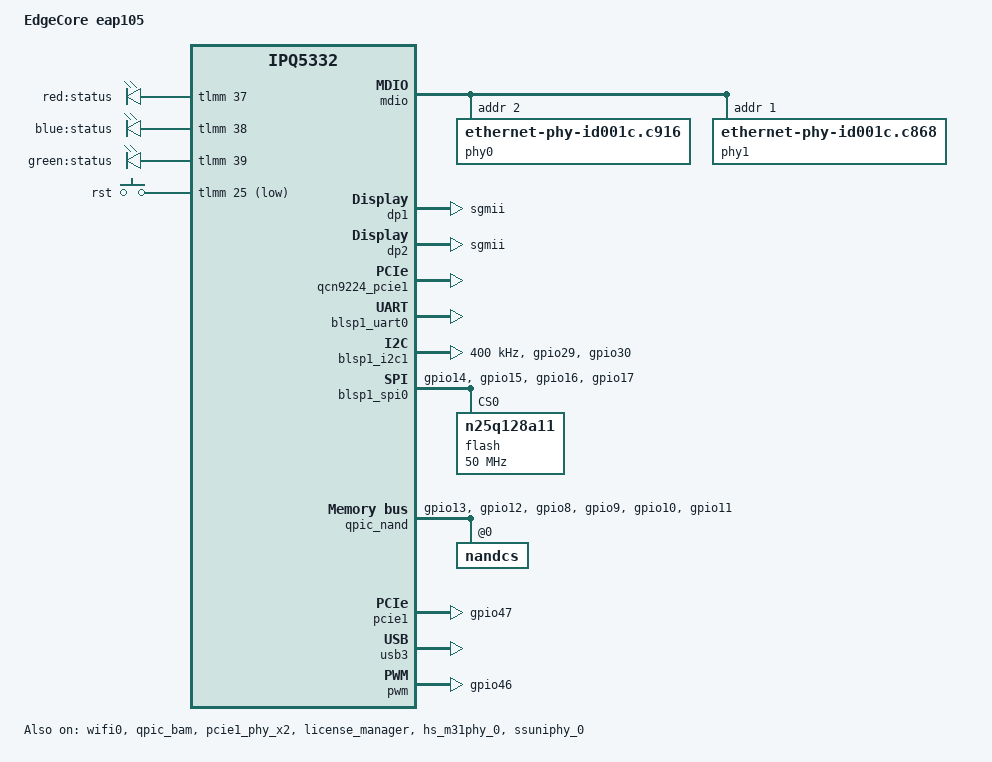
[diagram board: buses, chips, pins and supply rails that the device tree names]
// SPDX-License-Identifier: (GPL-2.0+ OR BSD-3-Clause)
/*
 * IPQ5332 RDP468 board device tree source
 *
 * Copyright (c) 2020-2021 The Linux Foundation. All rights reserved.
 * Copyright (c) 2022-2023 Qualcomm Innovation Center, Inc. All rights reserved.
 */

/dts-v1/;

#include <dt-bindings/gpio/gpio.h>
#include <dt-bindings/input/input.h>
#include <dt-bindings/leds/common.h>
#include "ipq5332.dtsi"
#include "ipq5332-default-memory.dtsi"

/ {
	model = "EdgeCore eap105";
	compatible = "edgecore,eap105", "qcom,ipq5332-ap-mi01.6", "qcom,ipq5332";

	aliases {
		serial0 = &blsp1_uart0;
		serial1 = &blsp1_uart1;
		ethernet0 = "/soc/dp1";
		ethernet1 = "/soc/dp2";
		led-boot = &led_power;
		led-failsafe = &led_power;
		led-running = &led_power;
		led-upgrade = &led_power;
	};

	chosen {
		stdout-path = "serial0";
	};

	soc@0 {
		mdio:mdio@90000 {
			pinctrl-0 = <&mdio1_pins>;
			pinctrl-names = "default";
			phy-reset-gpio = <&tlmm 24 GPIO_ACTIVE_LOW &tlmm 22 GPIO_ACTIVE_LOW>;
			phyaddr_fixup = <0xC90F018>;
			uniphyaddr_fixup = <0xC90F014>;
			mdio_clk_fixup; /* MDIO clock sequence fix up flag */
			status = "okay";

			phy0: ethernet-phy@0 {
				reg = <2>;
				compatible = "ethernet-phy-id001c.c916";
			};

			phy1: ethernet-phy@1 {
				reg = <1>;
				compatible = "ethernet-phy-id001c.c868";
			};
		};

		ess-instance {
			ess-switch@3a000000 {
				switch_cpu_bmp = <0x1>;  /* cpu port bitmap */
				switch_lan_bmp = <0x2>; /* lan port bitmap */
				switch_wan_bmp = <0x4>; /* wan port bitmap */
				switch_mac_mode = <0xf>; /* mac mode for uniphy instance0*/
				switch_mac_mode1 = <0xd>; /* mac mode for uniphy instance1*/
				switch_mac_mode2 = <0xff>; /* mac mode for uniphy instance2*/

				qcom,port_phyinfo {
					port@0 {
						port_id = <1>;
						phy_address = <2>;
						mdiobus = <&mdio>;
						ethernet-phy-ieee802.3-c45;
					};
					port@1 {
						port_id = <2>;
						phy_address = <1>;
						mdiobus = <&mdio>;
						ethernet-phy-ieee802.3-c45;
					};
				};
			};
		};

		dp1 {
			device_type = "network";
			compatible = "qcom,nss-dp";
			qcom,id = <2>;
			reg = <0x3a504000 0x4000>;
			qcom,mactype = <1>;
			local-mac-address = [000000000000];
			mdio-bus = <&mdio>;
			qcom,phy-mdio-addr = <1>;
			qcom,link-poll = <1>;
			phy-mode = "sgmii";
		};

		dp2 {
			device_type = "network";
			compatible = "qcom,nss-dp";
			qcom,id = <1>;
			reg = <0x3a500000 0x4000>;
			qcom,mactype = <1>;
			local-mac-address = [000000000000];
			mdio-bus = <&mdio>;
			qcom,phy-mdio-addr = <2>;
			qcom,link-poll = <1>;
			phy-mode = "sgmii";
		};

		/* EDMA host driver configuration for the board */
		edma@3ab00000 {
			qcom,txdesc-ring-start = <4>;		/* Tx desc ring start ID */
			qcom,txdesc-rings = <12>;		/* Total number of Tx desc rings to be provisioned */
			qcom,mht-txdesc-rings = <8>;            /* Extra Tx desc rings to be provisioned for MHT SW ports */
			qcom,txcmpl-ring-start = <4>;		/* Tx complete ring start ID */
			qcom,txcmpl-rings = <12>;		/* Total number of Tx complete rings to be provisioned */
			qcom,mht-txcmpl-rings = <8>;            /* Extra Tx complete rings to be provisioned for mht sw ports. */
			qcom,rxfill-ring-start = <4>;		/* Rx fill ring start ID */
			qcom,rxfill-rings = <4>;		/* Total number of Rx fill rings to be provisioned */
			qcom,rxdesc-ring-start = <12>;		/* Rx desc ring start ID */
			qcom,rxdesc-rings = <4>;		/* Total number of Rx desc rings to be provisioned */
			qcom,rx-page-mode = <0>;		/* Rx fill ring page mode */
			qcom,tx-map-priority-level = <1>;	/* Tx priority level per port */
			qcom,rx-map-priority-level = <1>;	/* Rx priority level per core */
			qcom,ppeds-num = <2>;			/* Number of PPEDS nodes */
			/* PPE-DS node format: <Rx-fill Tx-cmpl Rx Tx Queue-base Queue-count> */
			qcom,ppeds-map = <1 1 1 1 32 8>,	/* PPEDS Node#0 ring and queue map */
					<2 2 2 2 40 8>;		/* PPEDS Node#1 ring and queue map */
			qcom,txdesc-map = <8 9 10 11>,		/* Port0 per-core Tx ring map */
					<12 13 14 15>,        /* MHT-Port1 per-core Tx ring map */
					<4 5 6 7>,            /* MHT-Port2 per-core Tx ring map/packets from  vp*/
					<16 17 18 19>,        /* MHT-Port3 per-core Tx ring map */
					<20 21 22 23>;        /* MHT-Port4 per-core Tx ring map */
			qcom,txdesc-fc-grp-map = <1 2 3 4 5>;   /* Per GMAC flow control group map */
			qcom,rxfill-map = <4 5 6 7>;		/* Per-core Rx fill ring map */
			qcom,rxdesc-map = <12 13 14 15>;	/* Per-core Rx desc ring map */
			qcom,rx-queue-start = <0>;		/* Rx queue start */
			qcom,rx-ring-queue-map = <0 8 16 24>,	/* Priority 0 queues per-core Rx ring map */
						<1 9 17 25>,	/* Priority 1 queues per-core Rx ring map */
						<2 10 18 26>,	/* Priority 2 queues per-core Rx ring map */
						<3 11 19 27>,	/* Priority 3 queues per-core Rx ring map */
						<4 12 20 28>,	/* Priority 4 queues per-core Rx ring map */
						<5 13 21 29>,	/* Priority 5 queues per-core Rx ring map */
						<6 14 22 30>,	/* Priority 6 queues per-core Rx ring map */
						<7 15 23 31>;	/* Priority 7 queues per-core Rx ring map */
			interrupts = <0 163 4>,			/* Tx complete ring id #4 IRQ info */
				   <0 164 4>,			/* Tx complete ring id #5 IRQ info */
				   <0 165 4>,			/* Tx complete ring id #6 IRQ info */
				   <0 166 4>,			/* Tx complete ring id #7 IRQ info */
				   <0 167 4>,			/* Tx complete ring id #8 IRQ info */
				   <0 168 4>,			/* Tx complete ring id #9 IRQ info */
				   <0 169 4>,			/* Tx complete ring id #10 IRQ info */
				   <0 170 4>,			/* Tx complete ring id #11 IRQ info */
				   <0 171 4>,			/* Tx complete ring id #12 IRQ info */
				   <0 172 4>,			/* Tx complete ring id #13 IRQ info */
				   <0 173 4>,			/* Tx complete ring id #14 IRQ info */
				   <0 174 4>,			/* Tx complete ring id #15 IRQ info */
				   <0 139 4>,			/* Rx desc ring id #12 IRQ info */
				   <0 140 4>,			/* Rx desc ring id #13 IRQ info */
				   <0 141 4>,			/* Rx desc ring id #14 IRQ info */
				   <0 142 4>,			/* Rx desc ring id #15 IRQ info */
				   <0 191 4>,			/* Misc error IRQ info */
				<0 160 4>,			/* PPEDS Node #1(TxComp ring id #1) TxComplete IRQ info */
				<0 128 4>,			/* PPEDS Node #1(Rx Desc ring id #1) Rx Desc IRQ info */
				<0 152 4>,			/* PPEDS Node #1(RxFill Desc ring id #1) Rx Fill IRQ info */
				<0 161 4>,			/* PPEDS Node #2(TxComp ring id #2) TxComplete IRQ info */
				<0 129 4>,			/* PPEDS Node #2(Rx Desc ring id #2) Rx Desc IRQ info */
				<0 153 4>,                      /* PPEDS Node #2(RxFill Desc ring id #2) Rx Fill IRQ info */
				<0 175 4>,                   /* MHT port Tx complete ring id #16 IRQ info */
				<0 176 4>,                   /* MHT port Tx complete ring id #17 IRQ info */
				<0 177 4>,                   /* MHT port Tx complete ring id #18 IRQ info */
				<0 178 4>,                   /* MHT port Tx complete ring id #19 IRQ info */
				<0 179 4>,                   /* MHT port Tx complete ring id #20 IRQ info */
				<0 180 4>,                   /* MHT port Tx complete ring id #21 IRQ info */
				<0 181 4>,                   /* MHT port Tx complete ring id #22 IRQ info */
				<0 182 4>;                   /* MHT port Tx complete ring id #23 IRQ info */
		};

		leds {
                        compatible = "gpio-leds";

                        led@37 {
                                label = "red:status";
                                gpios = <&tlmm 37 GPIO_ACTIVE_HIGH>;
                                default-state = "off";
                        };
                        led_power: led@38 {
                                label = "blue:status";
                                gpios = <&tlmm 38 GPIO_ACTIVE_HIGH>;
                                default-state = "off";
                        };
                        led@39 {
                                label = "green:status";
                                gpios = <&tlmm 39 GPIO_ACTIVE_HIGH>;
                                default-state = "off";
                        };
                };

		gpio_keys {
			compatible = "gpio-keys";
			pinctrl-0 = <&button_pins>;
			pinctrl-names = "default";
			button@1 {
				label = "rst";
				linux,code = <KEY_RESTART>;
				gpios = <&tlmm 25 GPIO_ACTIVE_LOW>;
				linux,input-type = <1>;
				debounce-interval = <60>;
			};
		};

		wsi: wsi {
			id = <0>;
			num_chip = <2>;
			status = "okay";
		};
	};
};

&wifi0 {
	led-gpio = <&tlmm 36 GPIO_ACTIVE_HIGH>;
	qcom,rproc = <&q6_wcss_pd1>;
	qcom,rproc_rpd = <&q6v5_wcss>;
	qcom,multipd_arch;
	qcom,userpd-subsys-name = "q6v5_wcss_userpd1";
	memory-region = <&q6_region>;
	qcom,wsi = <&wsi>;
	qcom,board_id = <0x16>;
	status = "okay";
};

&qcn9224_pcie1 {
	status = "okay";
};

&blsp1_uart0 {
	pinctrl-0 = <&serial_0_pins>;
	pinctrl-names = "default";
	status = "okay";
};

&blsp1_uart1 {
	pinctrl-0 = <&serial_1_pins>;
	pinctrl-names = "default";
	status = "disabled";
};

&blsp1_i2c1 {
	clock-frequency  = <400000>;
	pinctrl-0 = <&i2c_1_pins>;
	pinctrl-names = "default";
};

&blsp1_spi0 {
	pinctrl-0 = <&spi_0_data_clk_pins &spi_0_cs_pins>;
	pinctrl-names = "default";
	status = "okay";

	flash@0 {
		compatible = "n25q128a11"; 
		//, "jedec,spi-nor";
		reg = <0>;
		#address-cells = <1>;
		#size-cells = <1>;
		spi-max-frequency = <50000000>;
	};
};

&blsp1_spi2 {
	pinctrl-0 = <&spi_2_pins>;
	pinctrl-names = "default";
	cs-select = <0>;
	status = "disabled";
};

&pcm {
	pinctrl-0 = <&audio_pins_pri>;
	pinctrl-names = "primary";
	status = "disabled";
};

&sdhc {
	bus-width = <4>;
	max-frequency = <192000000>;
	mmc-ddr-1_8v;
	mmc-hs200-1_8v;
	non-removable;
	pinctrl-0 = <&sdc_default_state>;
	pinctrl-names = "default";
	status = "disabled";
};

&sleep_clk {
	clock-frequency = <32000>;
};

&xo_board {
	clock-frequency = <24000000>;
};

&qpic_bam {
	status = "okay";
};

&qpic_nand {
	pinctrl-0 = <&qspi_default_state>;
	pinctrl-names = "default";
	status = "okay";

	nandcs@0 {
		reg = <0>;
		#address-cells = <1>;
		#size-cells = <1>;

		nand-ecc-strength = <8>;
		nand-ecc-step-size = <512>;
		nand-bus-width = <8>;
	};
};

&pcie1_phy_x2 {
	status = "okay";
};

&pcie1 {
	pinctrl-0 = <&pcie1_default_state>;
	pinctrl-names = "default";
	perst-gpios = <&tlmm 47 GPIO_ACTIVE_LOW>;
	status = "okay";

	pcie1_rp {
		reg = <0 0 0 0 0>;

		qcom,mhi@1 {
			reg = <0 0 0 0 0>;
			boot-args = <0x2 0x4 0x34 0x3 0x0 0x0     /* MX Rail, GPIO52, Drive strength 0x3 */
					0x4 0x4 0x18 0x3 0x0 0x0  /* RFA1p2 Rail, GPIO24, Drive strength 0x3 */
					0x0 0x4 0x0 0x0 0x0 0x0>; /* End of arguments */
			memory-region = <&qcn9224_pcie1>;
			qcom,wsi = <&wsi>;
			qcom,board_id = <0x1019>;
		};
	};
};

/* PINCTRL */

&tlmm {

	audio_pins_pri: audio_pinmux_pri {
		mux_1 {
			pins = "gpio29";
			function = "audio_pri";
			drive-strength = <8>;
			bias-pull-down;
		};

		mux_2 {
			pins = "gpio30";
			function = "audio_pri";
			drive-strength = <8>;
			bias-pull-down;
		};

		mux_3 {
			pins = "gpio31";
			function = "audio_pri";
			drive-strength = <4>;
			bias-pull-down;
		};

		mux_4 {
			pins = "gpio32";
			function = "audio_pri";
			drive-strength = <4>;
			bias-pull-down;
		};
	};

	i2c_1_pins: i2c-1-state {
		pins = "gpio29", "gpio30";
		function = "blsp1_i2c0";
		drive-strength = <8>;
		bias-pull-up;
	};

	spi_2_pins: spi-2-pins {
		pins = "gpio33", "gpio34", "gpio35", "gpio36";
		function = "blsp2_spi0";
		drive-strength = <8>;
		bias-pull-down;
	};

	sdc_default_state: sdc-default-state {
		clk-pins {
			pins = "gpio13";
			function = "sdc_clk";
			drive-strength = <8>;
			bias-disable;
		};

		cmd-pins {
			pins = "gpio12";
			function = "sdc_cmd";
			drive-strength = <8>;
			bias-pull-up;
		};

		data-pins {
			pins = "gpio8", "gpio9", "gpio10", "gpio11";
			function = "sdc_data";
			drive-strength = <8>;
			bias-pull-up;
		};
	};

	spi_0_data_clk_pins: spi-0-data-clk-state {
		pins = "gpio14", "gpio15", "gpio16";
		function = "blsp0_spi";
		drive-strength = <2>;
		bias-pull-down;
	};

	spi_0_cs_pins: spi-0-cs-state {
		pins = "gpio17";
		function = "blsp0_spi";
		drive-strength = <2>;
		bias-pull-up;
	};

	qspi_default_state: qspi-default-state {
		qspi_clock {
			pins = "gpio13";
			function = "qspi_clk";
			drive-strength = <8>;
			bias-pull-down;
		};

		qspi_cs {
			pins = "gpio12";
			function = "qspi_cs";
			drive-strength = <8>;
			bias-pull-up;
		};

		qspi_data {
			pins = "gpio8", "gpio9", "gpio10", "gpio11";
			function = "qspi_data";
			drive-strength = <8>;
			bias-pull-down;
		};
	};

	serial_1_pins: serial1-pinmux {
		pins = "gpio33", "gpio34", "gpio35", "gpio36";
		function = "blsp1_uart2";
		drive-strength = <8>;
		bias-pull-up;
	};

	gpio_leds_default: gpio-leds-default-state {
		pins = "gpio36";
		function = "gpio";
		drive-strength = <8>;
		bias-pull-down;
	};

	button_pins: button-state {
		pins = "gpio25";
		function = "gpio";
		drive-strength = <8>;
		bias-pull-up;
	};

	pwm_pins: pwm-state {
		pins = "gpio46";
		function = "pwm0";
		drive-strength = <8>;
	};

	pcie1_default_state: pcie1-default-state {
		pins = "gpio47";
		function = "gpio";
		drive-strength = <8>;
		bias-pull-up;
		output-low;
	};
};

&license_manager {
	status = "okay";
};

&usb3 {
	qcom,multiplexed-phy;
	status = "okay";
};

&pwm {
	pinctrl-0 = <&pwm_pins>;
	pinctrl-names = "default";
	status = "okay";
};

&hs_m31phy_0 {
	status = "okay";
};

&ssuniphy_0 {
	status = "okay";
};
